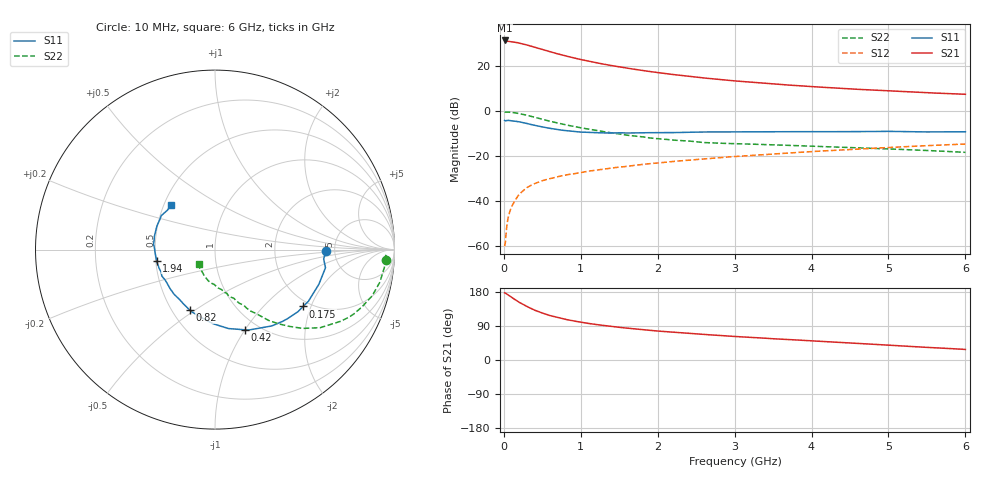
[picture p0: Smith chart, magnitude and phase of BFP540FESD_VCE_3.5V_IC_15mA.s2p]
! Infineon Technologies  Discrete & RF Semiconductors
! BFP540FESD
! VCE =  3.5 V,  IC =  15 mA
! Common Emitter S-Parameters:  Nov 2015
# GHz  S  MA  R  50
!  f  S11  S21  S12  S22
! GHz  MAG  ANG  MAG  ANG  MAG  ANG  MAG  ANG
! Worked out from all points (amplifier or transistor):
!   210 points, 10 MHz to 6 GHz, reference 50 ohm
!   highest |S21| = 31.4 dB at 10 MHz (marker M1)
!   |S21| within 3 dB of that: start of sweep to 400 MHz
!   unconditionally stable (mu >= 1): start of sweep to 15.88 MHz; 1.959 GHz to end of sweep
!   at 185 MHz: K = 0.26, MSG = 34.0 dB, |S12| = -37.7 dB
!   at 1.52 GHz: K = 0.92, MSG = 22.2 dB, |S12| = -24.8 dB
!   at 6 GHz: K = 1.19, MAG = 8.4 dB, |S12| = -14.6 dB
!   S11 on the Smith chart (normalised r, x): 10 MHz: 4.24, -0.12; 175 MHz: 1.83, -1.77; 420 MHz: 0.86, -1.00; 820 MHz: 0.61, -0.48; 1.94 GHz: 0.51, -0.07; 6 GHz: 0.55, +0.31
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0.01  0.6186 -0.8  36.98 177.3  0.001 56.9  0.9519 -3.5
0.02  0.6077 -4.9  35.46 176.6  0.0012 65.1  0.9517 -1.9
0.05  0.6239 -9.3  35.57 172.4  0.0038 81.1  0.9506 -5.4
0.1  0.6101 -18.5  34.76 165.3  0.0075 78.7  0.9367 -11.1
0.15  0.5948 -28.9  33.88 158.8  0.0106 76.6  0.9134 -16.3
0.175  0.5848 -32.8  33.06 155.6  0.0124 75.2  0.8958 -18.7
0.2  0.5775 -36.8  32.36 152.2  0.0142 74.1  0.8799 -21.2
0.3  0.5303 -53.3  29.36 140.9  0.02 68.9  0.8061 -29.7
0.42  0.476 -69.8  25.58 130.1  0.0253 65.1  0.7145 -37.6
0.5  0.4463 -80.3  23.36 123.7  0.0284 63.2  0.6563 -42.0
0.6  0.4133 -91.4  20.73 117.3  0.0317 60.8  0.5943 -46.0
0.7  0.3874 -100.8  18.66 112.1  0.0347 59.7  0.5443 -49.4
0.82  0.3656 -112.4  16.51 106.5  0.0385 59.1  0.4884 -53.2
1.02  0.3401 -126.7  13.72 99.1  0.0437 58.8  0.4195 -57.6
1.42  0.3263 -149.6  10.11 88.0  0.0548 57.8  0.3243 -66.0
1.94  0.3314 -169.4  7.388 77.6  0.0689 56.9  0.2492 -75.9
2.02  0.3322 -172.3  7.087 76.1  0.0708 56.7  0.2427 -77.8
2.56  0.3425 175.6  5.529 68.0  0.0854 54.7  0.2032 -88.5
3.1  0.3456 166.6  4.536 61.0  0.1004 52.6  0.1869 -96.5
4.1  0.3491 156.4  3.412 49.4  0.1287 47.9  0.164 -108.8
5.1  0.3519 146.4  2.76 37.9  0.1583 41.1  0.1422 -120.7
6  0.3471 134.5  2.359 27.9  0.1855 34.5  0.1212 -137.2
